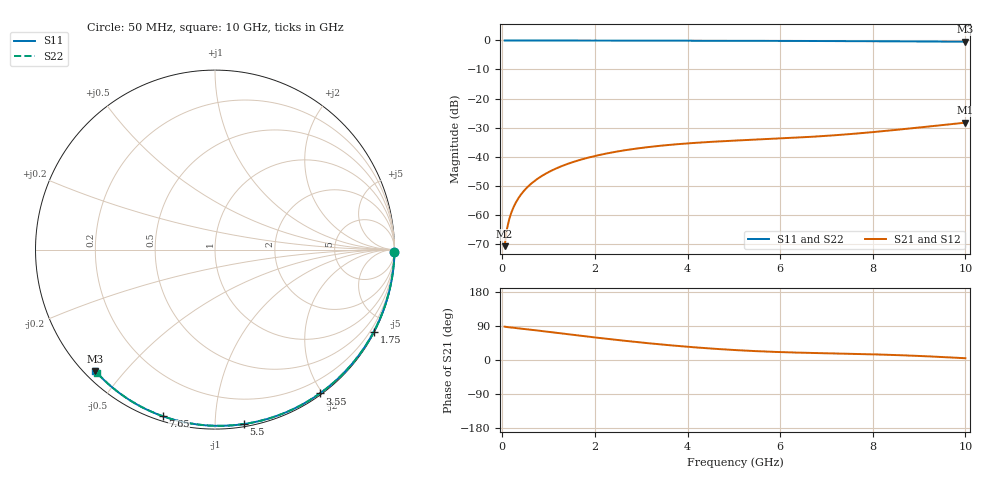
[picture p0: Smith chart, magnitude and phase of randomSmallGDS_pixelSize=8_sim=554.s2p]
! freq	dB(S11)	phase(S11)	dB(S12)	phase(S12)
!  dB(S21)	phase(S21)	dB(S22)	phase(S22)
!S-par simulation data
#  GHz  S  DB  R 50
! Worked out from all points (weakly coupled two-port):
!   200 points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, 50 MHz to 10 GHz, reference 50 ohm
!   highest |S21| = -28.31 dB at 10 GHz (marker M1); lowest = -70.9 dB at 50 MHz (marker M2)
!   lowest |S11| = -0.4 dB at 10 GHz (marker M3), VSWR 38.92, Z = 1.51 - j20.9 ohm
!   |S11| at or under -10 dB: nowhere
!   |S22| runs from -0.4 to 0.0 dB; largest |S21 - S12| = 0
!   S11 on the Smith chart (normalised r, x): 50 MHz: open; 1.75 GHz: 0.04, -4.12; 3.55 GHz: 0.02, -1.96; 5.5 GHz: 0.02, -1.18; 7.65 GHz: 0.02, -0.73; 10 GHz: 0.03, -0.42
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0.05  -0.00 -0.8  -70.86 88.1  -70.86 88.1  -0.00 -0.8
0.1  -0.00 -1.6  -64.97 87.0  -64.97 87.0  -0.00 -1.6
0.15  -0.00 -2.4  -61.53 86.3  -61.53 86.3  -0.00 -2.4
0.2  -0.00 -3.2  -59.08 85.7  -59.08 85.7  -0.00 -3.2
0.25  -0.00 -4.0  -57.18 85.1  -57.18 85.1  -0.00 -3.9
0.35  -0.00 -5.5  -54.29 83.8  -54.29 83.8  -0.00 -5.5
0.5  -0.01 -7.9  -51.23 81.6  -51.23 81.6  -0.01 -7.9
0.7  -0.01 -11.0  -48.35 78.7  -48.35 78.7  -0.01 -11.0
1  -0.02 -15.7  -45.34 74.2  -45.34 74.2  -0.02 -15.6
1.35  -0.03 -21.1  -42.87 69.0  -42.87 69.0  -0.03 -21.0
1.75  -0.03 -27.3  -40.81 63.1  -40.81 63.1  -0.03 -27.1
2.5  -0.05 -38.6  -38.20 52.6  -38.20 52.6  -0.05 -38.4
3.4  -0.07 -51.8  -36.29 41.4  -36.29 41.4  -0.07 -51.5
3.55  -0.07 -53.9  -36.06 39.7  -36.06 39.7  -0.07 -53.6
4.3  -0.09 -64.5  -35.13 32.1  -35.13 32.1  -0.09 -64.1
5.05  -0.11 -74.7  -34.47 26.1  -34.47 26.1  -0.11 -74.3
5.5  -0.13 -80.6  -34.14 23.3  -34.14 23.3  -0.13 -80.2
6.7  -0.18 -95.9  -33.16 18.5  -33.16 18.5  -0.18 -95.4
7.65  -0.24 -107.4  -32.06 16.0  -32.06 16.0  -0.24 -106.9
8.35  -0.29 -115.7  -31.04 13.7  -31.04 13.7  -0.29 -115.1
9.2  -0.36 -125.5  -29.66 9.6  -29.66 9.6  -0.36 -124.8
10  -0.45 -134.6  -28.31 4.6  -28.31 4.6  -0.44 -133.9
